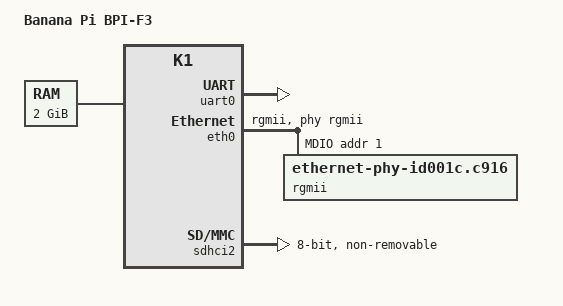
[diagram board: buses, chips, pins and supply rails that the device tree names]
// SPDX-License-Identifier: GPL-2.0-or-later OR MIT
/*
 * Copyright (C) 2024 Yangyu Chen <cyy@cyyself.name>
 */

#include "k1.dtsi"
#include "binman.dtsi"
#include "k1-pinctrl.dtsi"

/ {
	model = "Banana Pi BPI-F3";
	compatible = "bananapi,bpi-f3", "spacemit,k1";

	chosen {
		stdout-path = "serial0";
	};

	memory@0 {
		device_type = "memory";
		reg = <0x00000000 0x00000000 0x00000000 0x80000000>;
	};
};

&uart0 {
	status = "okay";
};


&eth0 {
	status = "okay";
	pinctrl-names = "default";
	pinctrl-0 = <&pinctrl_gmac0>;

	phy-reset-pin = <110>;

	tx-phase = <90>;
	rx-phase = <73>;

	phy-mode = "rgmii";
	phy-addr = <1>;
	phy-handle = <&rgmii>;

	ref-clock-from-phy;

	mdio {
		#address-cells = <0x1>;
		#size-cells = <0x0>;
		rgmii: phy@0 {
			compatible = "ethernet-phy-id001c.c916";
			device_type = "ethernet-phy";
			reg = <0x1>;
		};
	};
};


&pinctrl {
	pinctrl-single,gpio-range = <
		&range GPIO_49  2 (MUX_MODE0 | EDGE_NONE | PULL_UP   | PAD_3V_DS4)
		&range GPIO_58  1 (MUX_MODE0 | EDGE_NONE | PULL_DOWN | PAD_1V8_DS2)
		&range GPIO_63  2 (MUX_MODE0 | EDGE_NONE | PULL_DOWN | PAD_1V8_DS2)
		&range GPIO_65  1 (MUX_MODE0 | EDGE_NONE | PULL_UP   | PAD_1V8_DS2)
		&range GPIO_66  2 (MUX_MODE0 | EDGE_NONE | PULL_DOWN | PAD_1V8_DS2)
		&range PRI_TDI  2 (MUX_MODE1 | EDGE_NONE | PULL_UP   | PAD_1V8_DS2)
		&range PRI_TCK  1 (MUX_MODE1 | EDGE_NONE | PULL_DOWN | PAD_1V8_DS2)
		&range PRI_TDO  1 (MUX_MODE1 | EDGE_NONE | PULL_UP   | PAD_1V8_DS2)
		&range GPIO_74  1 (MUX_MODE0 | EDGE_NONE | PULL_UP   | PAD_1V8_DS2)
		&range GPIO_80  1 (MUX_MODE0 | EDGE_NONE | PULL_UP   | PAD_3V_DS4)
		&range GPIO_81  3 (MUX_MODE0 | EDGE_NONE | PULL_UP   | PAD_1V8_DS2)
		&range GPIO_90  1 (MUX_MODE0 | EDGE_NONE | PULL_DOWN | PAD_1V8_DS2)
		&range GPIO_91  2 (MUX_MODE0 | EDGE_NONE | PULL_UP   | PAD_1V8_DS2)
		&range DVL0     1 (MUX_MODE1 | EDGE_NONE | PULL_DOWN | PAD_1V8_DS2)
		&range DVL1     1 (MUX_MODE1 | EDGE_NONE | PULL_DOWN | PAD_1V8_DS0)
		&range GPIO_110 1 (MUX_MODE0 | EDGE_NONE | PULL_DOWN | PAD_1V8_DS2)
		&range GPIO_114 1 (MUX_MODE0 | EDGE_NONE | PULL_DOWN | PAD_1V8_DS2)
		&range GPIO_115 2 (MUX_MODE0 | EDGE_NONE | PULL_DOWN | PAD_1V8_DS2)
		&range GPIO_123 1 (MUX_MODE0 | EDGE_NONE | PULL_DOWN | PAD_1V8_DS0)
		&range GPIO_124 1 (MUX_MODE0 | EDGE_NONE | PULL_UP   | PAD_1V8_DS2)
		&range GPIO_125 3 (MUX_MODE0 | EDGE_NONE | PULL_DOWN | PAD_1V8_DS2)
	>;

	usbp1_vbus: usbp1_vbus {
		pinctrl-single,pins =<
			K1X_PADCONF(GPIO_66, MUX_MODE0, (EDGE_NONE | PULL_UP | PAD_1V8_DS2))    /* drive_vbus1_iso */
		>;
	};

	gpio80_pmx_func0: gpio80_pmx_func0 {
		pinctrl-single,pins = <
			K1X_PADCONF(GPIO_80, MUX_MODE0, (EDGE_BOTH | PULL_UP | PAD_3V_DS4))  /* mmc cd */
		>;
	};
};


&sdhci0 {
	pinctrl-names = "default";
	pinctrl-0 = <&pinctrl_mmc1 &gpio80_pmx_func0>;
	bus-width = <4>;
	cd-inverted;
	cap-sd-highspeed;
	sdh-phy-module = <0>;
	clk-src-freq = <204800000>;
	status = "disabled";
};

/* eMMC */
&sdhci2 {
	bus-width = <8>;
	non-removable;
	mmc-hs400-1_8v;
	mmc-hs400-enhanced-strobe;
	sdh-phy-module = <1>;
	clk-src-freq = <375000000>;
	status = "okay";
};
